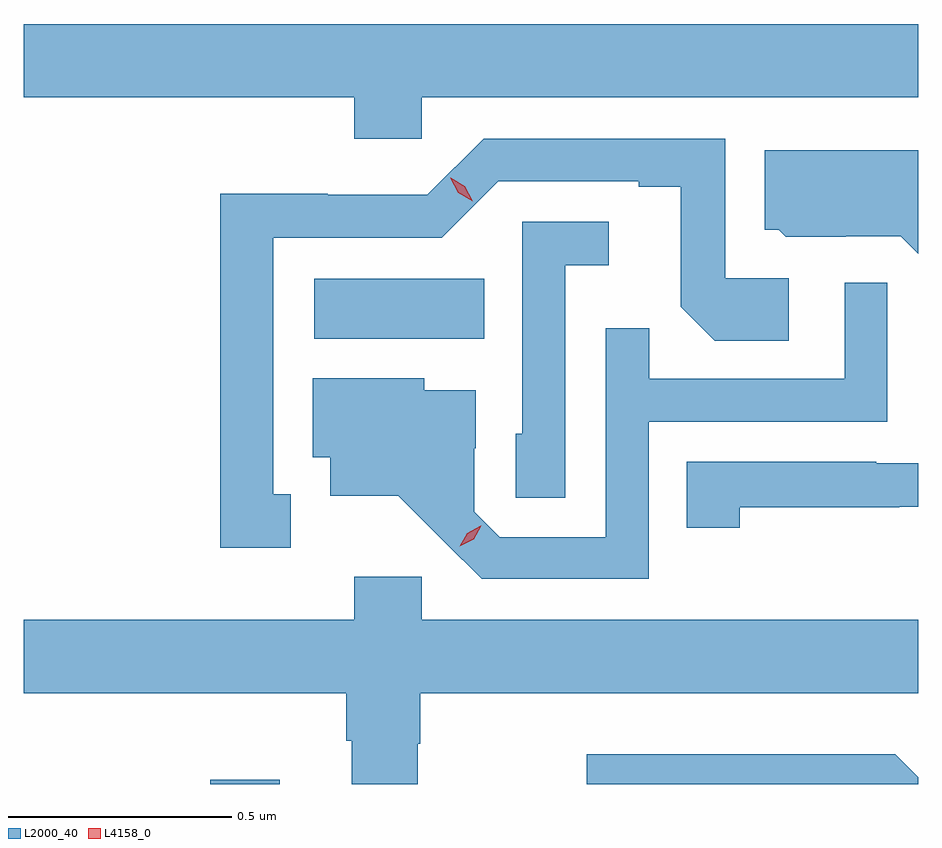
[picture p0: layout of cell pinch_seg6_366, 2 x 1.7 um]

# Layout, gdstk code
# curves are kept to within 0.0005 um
import gdstk
lib = gdstk.Library(unit=1e-6, precision=1e-09)
def R(c, l, rs):  # rectangles x0, y0, x1, y1
    for r in rs: c.add(gdstk.rectangle(r[:2], r[2:], *l))
def P(c, l, *ps):  # polygons
    for p in ps: c.add(gdstk.Polygon(p, *l))
L2000_40 = (2000, 40)
L4158_0 = (4158, 0)

pinch_seg6_366 = lib.new_cell('pinch_seg6_366')
R(pinch_seg6_366, L2000_40, [(689.701,935.145,689.857,935.155), (689.934,936.14,690.314,936.274)])
P(pinch_seg6_366, L2000_40, [(690.174,936.68),(691.284,936.68),(691.284,936.844),(689.284,936.844),(689.284,936.68),(690.023,936.68),(690.023,936.587),(690.174,936.587)],
  [(689.881,935.793),(689.842,935.793),(689.842,936.366),(690.219,936.366),(690.345,936.492),(690.659,936.492),(690.659,936.48),(690.753,936.48),(690.753,936.212),(690.829,936.136),(690.994,936.136),(690.994,936.276),(690.852,936.276),(690.852,936.588),(690.312,936.588),(690.186,936.462),(689.964,936.462),(689.964,936.464),(689.724,936.464),(689.724,935.673),(689.881,935.673)],
  [(691.284,936.562),(690.941,936.562),(690.941,936.384),(690.972,936.384),(690.988,936.368),(691.122,936.368),(691.122,936.369),(691.245,936.369),(691.284,936.33)],
  [(690.495,936.305),(690.592,936.305),(690.592,936.402),(690.399,936.402),(690.399,935.928),(690.384,935.928),(690.384,935.785),(690.495,935.785)],
  [(690.681,935.955),(691.215,935.955),(691.215,936.265),(691.119,936.265),(691.119,936.051),(690.683,936.051),(690.683,936.164),(690.585,936.164),(690.585,935.697),(690.348,935.697),(690.291,935.754),(690.291,935.896),(690.295,935.896),(690.295,936.025),(690.18,936.025),(690.18,936.052),(689.93,936.052),(689.93,935.876),(689.969,935.876),(689.969,935.789),(690.121,935.789),(690.308,935.604),(690.681,935.604)],
  [(690.885,935.764),(691.241,935.764),(691.241,935.765),(691.284,935.765),(691.284,935.862),(691.19,935.862),(691.19,935.865),(690.766,935.865),(690.766,935.718),(690.885,935.718)],
  [(690.165,935.235),(690.17,935.235),(690.17,935.348),(691.284,935.348),(691.284,935.512),(690.174,935.512),(690.174,935.608),(690.023,935.608),(690.023,935.512),(689.284,935.512),(689.284,935.348),(690.005,935.348),(690.005,935.242),(690.017,935.242),(690.017,935.145),(690.165,935.145)],
  [(691.284,935.16),(691.232,935.212),(690.543,935.212),(690.543,935.145),(691.284,935.145)])
P(pinch_seg6_366, L4158_0, [(690.288,936.448),(690.256,936.467),(690.238,936.5),(690.238,936.5),(690.239,936.5),(690.27,936.481),(690.288,936.448),(690.288,936.448)],
  [(690.259,935.676),(690.259,935.676),(690.276,935.706),(690.306,935.722),(690.307,935.722),(690.307,935.722),(690.29,935.692),(690.259,935.676)])

lib.write_gds('pinch_seg6_366.gds')
